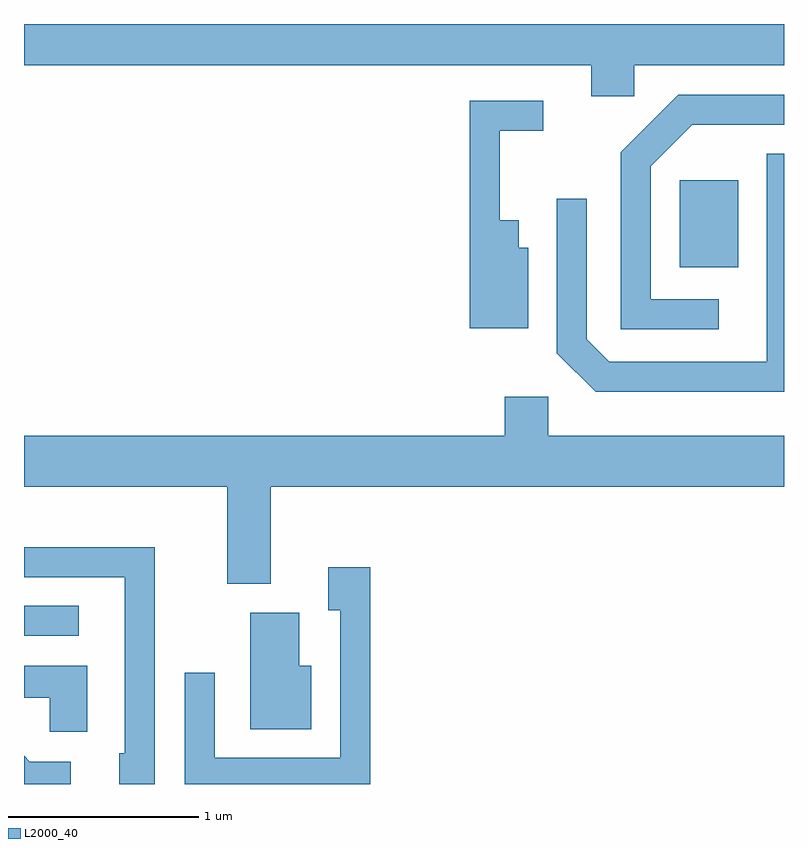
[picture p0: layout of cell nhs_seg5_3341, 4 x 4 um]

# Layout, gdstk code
import gdstk
lib = gdstk.Library(unit=1e-6, precision=1e-09)
def R(c, l, rs):  # rectangles x0, y0, x1, y1
    for r in rs: c.add(gdstk.rectangle(r[:2], r[2:], *l))
def P(c, l, *ps):  # polygons
    for p in ps: c.add(gdstk.Polygon(p, *l))
L2000_40 = (2000, 40)

nhs_seg5_3341 = lib.new_cell('nhs_seg5_3341')
R(nhs_seg5_3341, L2000_40, [(283.611,1504.851,283.898,1505.009), (287.061,1506.791,287.369,1507.249)])
P(nhs_seg5_3341, L2000_40, [(286.824,1507.856),(287.611,1507.856),(287.611,1508.072),(283.611,1508.072),(283.611,1507.856),(286.596,1507.856),(286.596,1507.691),(286.824,1507.691)],
  [(287.268,1506.624),(286.909,1506.624),(286.909,1507.324),(287.127,1507.541),(287.611,1507.541),(287.611,1507.699),(287.054,1507.699),(286.751,1507.397),(286.751,1506.466),(287.268,1506.466)],
  [(286.264,1506.894),(286.214,1506.894),(286.214,1507.039),(286.114,1507.039),(286.114,1507.511),(286.343,1507.511),(286.343,1507.669),(285.956,1507.669),(285.956,1506.471),(286.264,1506.471)],
  [(287.611,1507.389),(287.521,1507.389),(287.521,1506.294),(286.692,1506.294),(286.574,1506.412),(286.574,1507.153),(286.416,1507.153),(286.416,1506.339),(286.619,1506.136),(287.611,1506.136)],
  [(287.611,1505.904),(286.369,1505.904),(286.369,1506.109),(286.141,1506.109),(286.141,1505.904),(283.611,1505.904),(283.611,1505.636),(284.681,1505.636),(284.681,1505.126),(284.909,1505.126),(284.909,1505.636),(287.611,1505.636)],
  [(284.299,1505.319),(283.611,1505.319),(283.611,1505.161),(284.141,1505.161),(284.141,1504.234),(284.111,1504.234),(284.111,1504.072),(284.299,1504.072)],
  [(285.434,1505.214),(285.211,1505.214),(285.211,1504.986),(285.276,1504.986),(285.276,1504.209),(284.614,1504.209),(284.614,1504.658),(284.456,1504.658),(284.456,1504.072),(285.434,1504.072)],
  [(285.124,1504.694),(285.059,1504.694),(285.059,1504.974),(284.801,1504.974),(284.801,1504.361),(285.124,1504.361)],
  [(283.944,1504.694),(283.611,1504.694),(283.611,1504.526),(283.746,1504.526),(283.746,1504.346),(283.944,1504.346)],
  [(283.858,1504.189),(283.642,1504.189),(283.611,1504.22),(283.611,1504.072),(283.858,1504.072)])

lib.write_gds('nhs_seg5_3341.gds')
